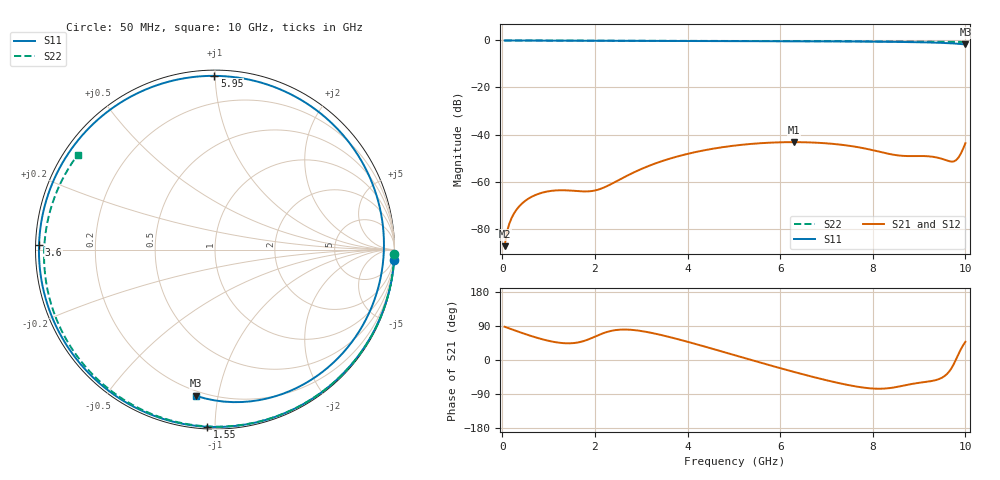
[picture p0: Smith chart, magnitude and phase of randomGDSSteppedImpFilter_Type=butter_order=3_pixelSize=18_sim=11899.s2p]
! freq	dB(S11)	phase(S11)	dB(S12)	phase(S12)
!  dB(S21)	phase(S21)	dB(S22)	phase(S22)
!S-par simulation data
#  GHz  S  DB  R 50
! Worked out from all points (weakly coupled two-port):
!   200 points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, 50 MHz to 10 GHz, reference 50 ohm
!   highest |S21| = -43.24 dB at 6.3 GHz (marker M1); lowest = -87.5 dB at 50 MHz (marker M2)
!   lowest |S11| = -1.7 dB at 10 GHz (marker M3), VSWR 10.18, Z = 8.62 - j43.1 ohm
!   |S11| at or under -10 dB: nowhere
!   |S22| runs from -0.6 to 0.0 dB; largest |S21 - S12| = 0
!   S11 on the Smith chart (normalised r, x): 50 MHz: 0, -35; 1.55 GHz: 0.01, -0.96; 3.6 GHz: 0.01, +0.01; 5.95 GHz: 0.03, +1.00; 10 GHz: 0.17, -0.86
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0.05  -0.00 -3.3  -87.48 87.8  -87.48 87.8  -0.00 -1.3
0.1  -0.01 -6.5  -81.48 85.5  -81.48 85.5  -0.00 -2.5
0.35  -0.04 -22.6  -70.90 74.6  -70.90 74.6  -0.01 -8.8
0.6  -0.05 -38.3  -66.85 64.3  -66.85 64.3  -0.02 -15.1
1.05  -0.08 -65.2  -63.98 49.3  -63.98 49.3  -0.03 -26.3
1.55  -0.10 -92.6  -63.95 44.8  -63.95 44.8  -0.05 -38.5
1.75  -0.11 -102.8  -64.20 49.7  -64.20 49.7  -0.05 -43.3
2.1  -0.13 -119.6  -63.26 66.9  -63.26 66.9  -0.07 -51.6
2.6  -0.14 -141.7  -58.49 80.4  -58.49 80.4  -0.08 -63.2
3.4  -0.16 -173.9  -51.64 66.8  -51.64 66.8  -0.10 -81.0
3.6  -0.17 178.5  -50.37 61.0  -50.37 61.0  -0.11 -85.3
4.3  -0.20 152.4  -46.94 37.9  -46.94 37.9  -0.14 -100.1
5.05  -0.23 124.5  -44.63 11.6  -44.63 11.6  -0.17 -115.3
5.95  -0.28 90.2  -43.34 -19.8  -43.34 -19.8  -0.22 -132.9
6.3  -0.31 76.4  -43.24 -31.5  -43.24 -31.5  -0.25 -139.7
6.7  -0.34 60.3  -43.41 -44.4  -43.41 -44.4  -0.28 -147.4
7.55  -0.43 25.0  -44.96 -68.0  -44.96 -68.0  -0.35 -163.7
8.35  -0.57 -9.4  -48.23 -74.3  -48.23 -74.3  -0.42 -179.4
9.05  -0.78 -41.5  -49.14 -59.4  -49.14 -59.4  -0.51 166.3
9.75  -1.29 -79.9  -51.43 -10.6  -51.43 -10.6  -0.60 151.2
9.85  -1.43 -86.6  -49.81 15.4  -49.81 15.4  -0.61 148.9
10  -1.71 -97.6  -43.69 48.0  -43.69 48.0  -0.63 145.5
